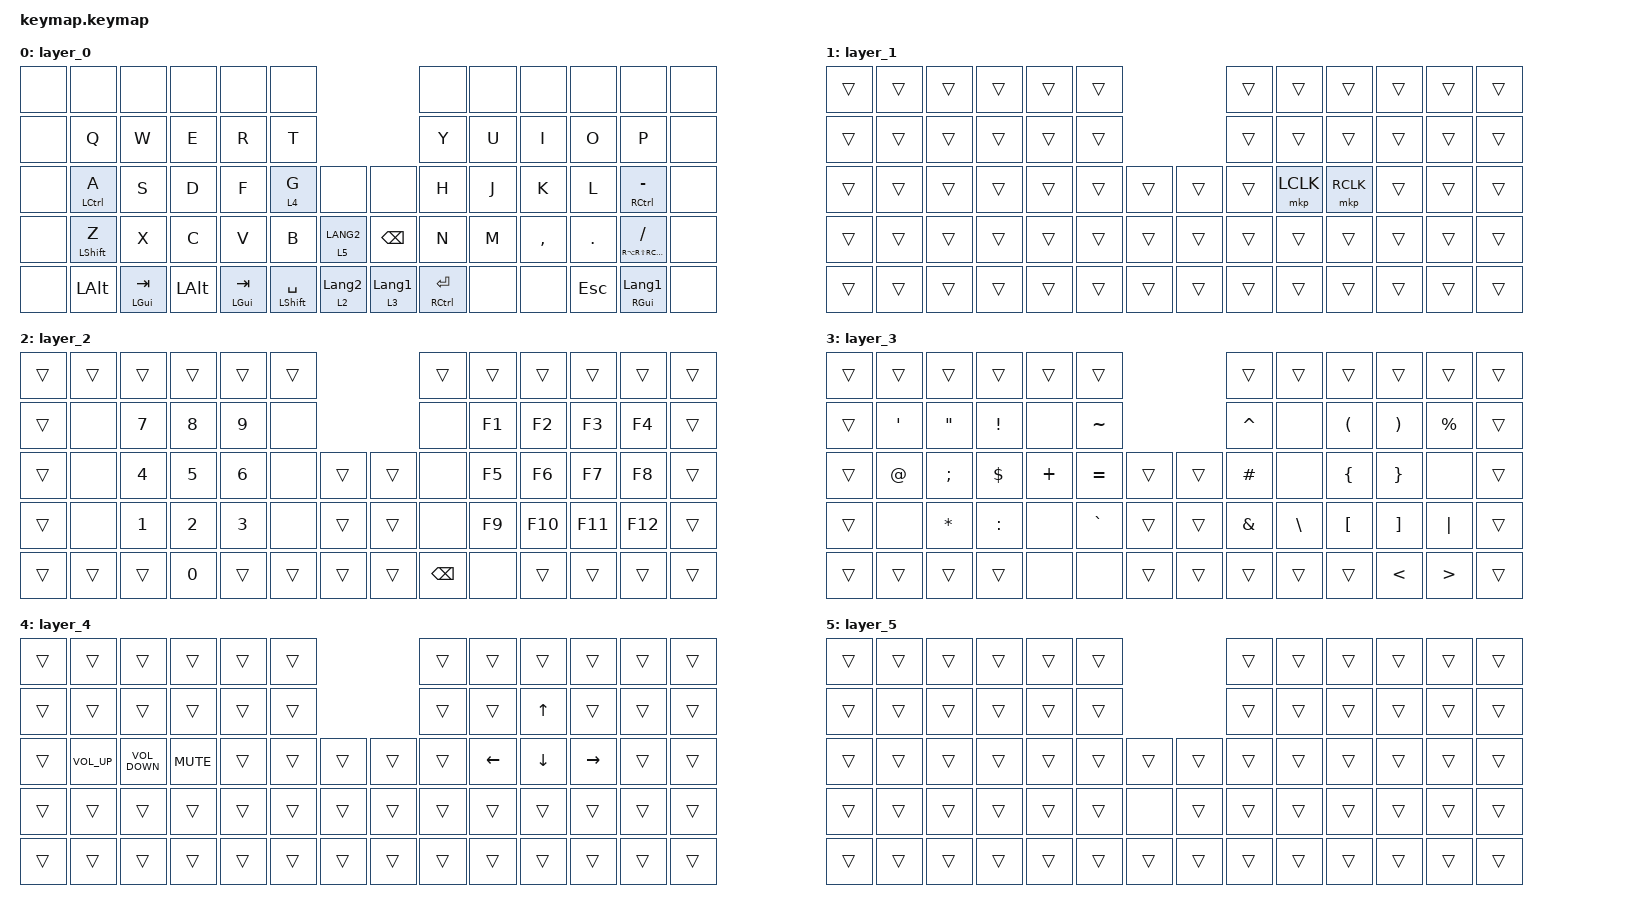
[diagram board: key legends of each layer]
#include <input/processors.dtsi>
#include <zephyr/dt-bindings/input/input-event-codes.h>
#include <behaviors.dtsi>
#include <dt-bindings/zmk/bt.h>
#include <dt-bindings/zmk/keys.h>
#include <dt-bindings/zmk/pointing.h>

/ {
    combos {
        compatible = "zmk,combos";

        bt_clear {
            bindings = <&bt BT_CLR>;
            key-positions = <28 29>;
            layers = <2>;
        };
    };

    behaviors {
        cmt: cmt {
            compatible = "zmk,behavior-hold-tap";
            label = "CMT";
            bindings = <&kp>, <&kp>;

            #binding-cells = <2>;
            tapping-term-ms = <200>;
            flavor = "tap-preferred";
        };
    };

    keymap {
        compatible = "zmk,keymap";

        layer_0 {
            bindings = <
&none  &none              &none             &none     &none             &none                                                     &none            &none  &none      &none       &none                                 &none
&none  &kp Q              &kp W             &kp E     &kp R             &kp T                                                     &kp Y            &kp U  &kp I      &kp O       &kp P                                 &none
&none  &cmt LCTRL A       &kp S             &kp D     &kp F             &lt 4 G               &none             &none             &kp H            &kp J  &kp K      &kp L       &cmt RCTRL MINUS                      &none
&none  &cmt LEFT_SHIFT Z  &kp X             &kp C     &kp V             &kp B                 &lt 5 LANG2       &kp BACKSPACE     &kp N            &kp M  &kp COMMA  &kp PERIOD  &mt RA(RS(RC(RG(RIGHT_SHIFT)))) FSLH  &none
&none  &kp LEFT_ALT       &mt LEFT_GUI TAB  &kp LALT  &mt LEFT_GUI TAB  &mt LEFT_SHIFT SPACE  &lt 2 LANGUAGE_2  &lt 3 LANGUAGE_1  &mt RCTRL ENTER  &none  &none      &kp ESCAPE  &mt RIGHT_GUI LANGUAGE_1              &none
            >;
        };

        layer_1 {
            bindings = <
&trans  &trans  &trans  &trans  &trans  &trans                  &trans  &trans     &trans     &trans  &trans  &trans
&trans  &trans  &trans  &trans  &trans  &trans                  &trans  &trans     &trans     &trans  &trans  &trans
&trans  &trans  &trans  &trans  &trans  &trans  &trans  &trans  &trans  &mkp LCLK  &mkp RCLK  &trans  &trans  &trans
&trans  &trans  &trans  &trans  &trans  &trans  &trans  &trans  &trans  &trans     &trans     &trans  &trans  &trans
&trans  &trans  &trans  &trans  &trans  &trans  &trans  &trans  &trans  &trans     &trans     &trans  &trans  &trans
            >;
        };

        layer_2 {
            bindings = <
&trans  &trans  &trans        &trans        &trans        &trans                  &trans         &trans  &trans   &trans   &trans   &trans
&trans  &none   &kp NUMBER_7  &kp NUMBER_8  &kp NUMBER_9  &none                   &none          &kp F1  &kp F2   &kp F3   &kp F4   &trans
&trans  &none   &kp NUMBER_4  &kp NUMBER_5  &kp NUMBER_6  &none   &trans  &trans  &none          &kp F5  &kp F6   &kp F7   &kp F8   &trans
&trans  &none   &kp NUMBER_1  &kp NUMBER_2  &kp NUMBER_3  &none   &trans  &trans  &none          &kp F9  &kp F10  &kp F11  &kp F12  &trans
&trans  &trans  &trans        &kp NUMBER_0  &trans        &trans  &trans  &trans  &kp BACKSPACE  &none   &trans   &trans   &trans   &trans
            >;
        };

        layer_3 {
            bindings = <
&trans  &trans            &trans             &trans      &trans    &trans                     &trans         &trans         &trans                &trans                 &trans            &trans
&trans  &kp SINGLE_QUOTE  &kp DOUBLE_QUOTES  &kp EXCL    &none     &kp TILDE                  &kp CARET      &none          &kp LEFT_PARENTHESIS  &kp RIGHT_PARENTHESIS  &kp PERCENT       &trans
&trans  &kp AT_SIGN       &kp SEMICOLON      &kp DOLLAR  &kp PLUS  &kp EQUAL  &trans  &trans  &kp HASH       &none          &kp LEFT_BRACE        &kp RIGHT_BRACE        &none             &trans
&trans  &none             &kp ASTERISK       &kp COLON   &none     &kp GRAVE  &trans  &trans  &kp AMPERSAND  &kp BACKSLASH  &kp LEFT_BRACKET      &kp RIGHT_BRACKET      &kp PIPE          &trans
&trans  &trans            &trans             &trans      &none     &none      &trans  &trans  &trans         &trans         &trans                &kp LESS_THAN          &kp GREATER_THAN  &trans
            >;
        };

        layer_4 {
            bindings = <
&trans  &trans        &trans             &trans      &trans  &trans                  &trans  &trans    &trans    &trans     &trans  &trans
&trans  &trans        &trans             &trans      &trans  &trans                  &trans  &trans    &kp UP    &trans     &trans  &trans
&trans  &kp C_VOL_UP  &kp C_VOLUME_DOWN  &kp C_MUTE  &trans  &trans  &trans  &trans  &trans  &kp LEFT  &kp DOWN  &kp RIGHT  &trans  &trans
&trans  &trans        &trans             &trans      &trans  &trans  &trans  &trans  &trans  &trans    &trans    &trans     &trans  &trans
&trans  &trans        &trans             &trans      &trans  &trans  &trans  &trans  &trans  &trans    &trans    &trans     &trans  &trans
            >;
        };

        layer_5 {
            // スクロールレイヤー - トラックボールの動きがスクロールとして解釈される

            bindings = <
&trans  &trans  &trans  &trans  &trans  &trans                  &trans  &trans  &trans  &trans  &trans  &trans
&trans  &trans  &trans  &trans  &trans  &trans                  &trans  &trans  &trans  &trans  &trans  &trans
&trans  &trans  &trans  &trans  &trans  &trans  &trans  &trans  &trans  &trans  &trans  &trans  &trans  &trans
&trans  &trans  &trans  &trans  &trans  &trans  &none   &trans  &trans  &trans  &trans  &trans  &trans  &trans
&trans  &trans  &trans  &trans  &trans  &trans  &trans  &trans  &trans  &trans  &trans  &trans  &trans  &trans
            >;
        };
    };
};

// トラックボールのスクロールモード設定

&zip_temp_layer {
    // layer_1 mouse keys + dedicated click keys

    excluded-positions = <27 28 33 34 48 49>;
};

&trackball_listener {
    set_scroll_mode {
        layers = <5>;
        input-processors = <
            &zip_xy_to_scroll_mapper
            &zip_scroll_transform (INPUT_TRANSFORM_Y_INVERT)
            &zip_scroll_scaler 1 12
        >;
    };
};
